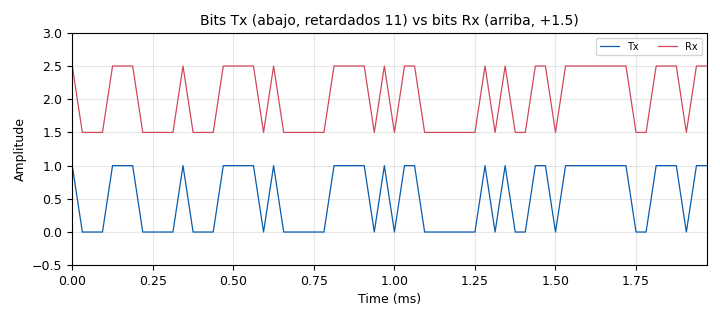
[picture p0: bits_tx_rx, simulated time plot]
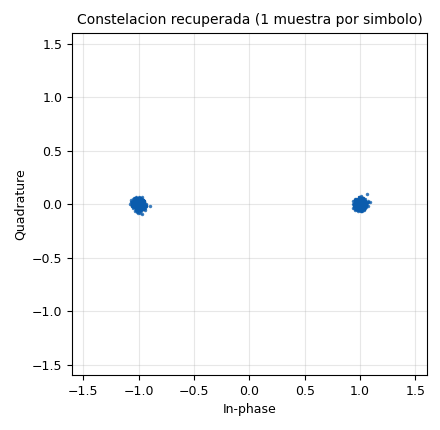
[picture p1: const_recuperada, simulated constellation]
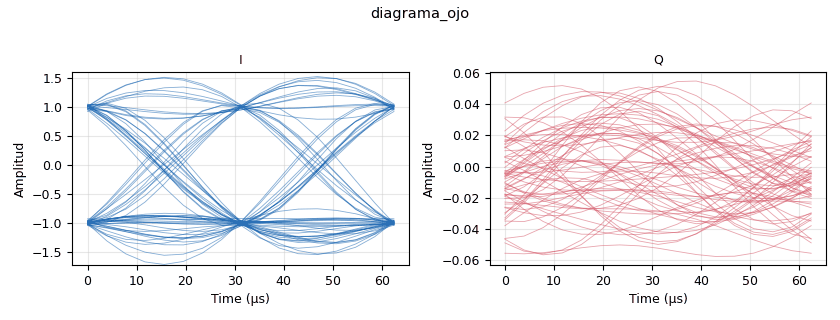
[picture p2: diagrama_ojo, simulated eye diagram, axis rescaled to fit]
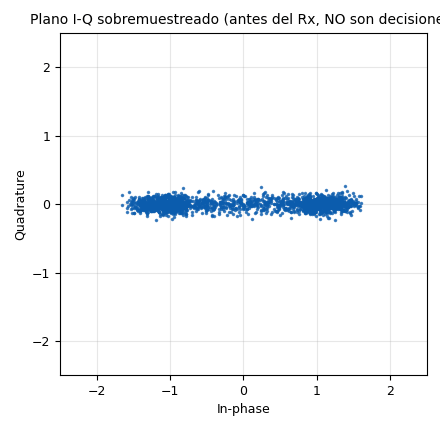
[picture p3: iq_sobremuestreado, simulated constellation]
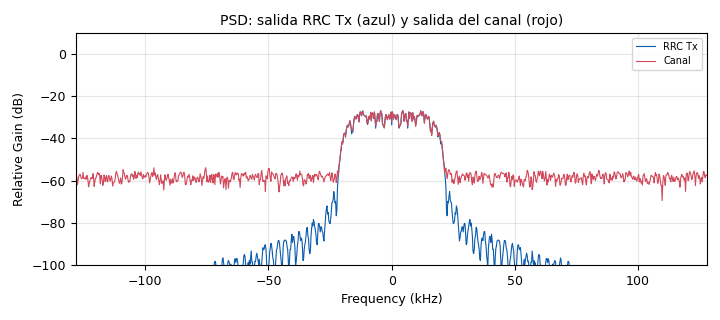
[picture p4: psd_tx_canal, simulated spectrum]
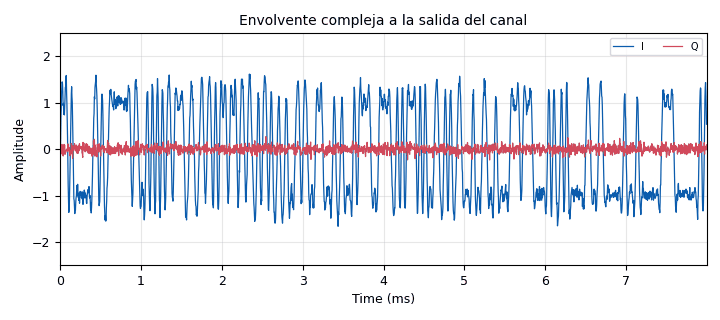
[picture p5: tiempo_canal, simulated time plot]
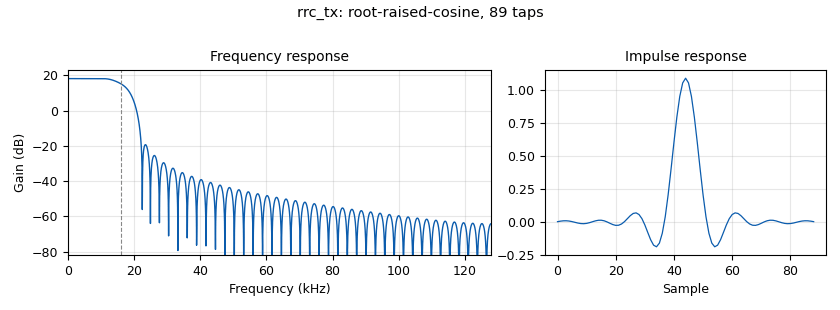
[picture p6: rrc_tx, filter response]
options:
  parameters:
    author: Grupo 1
    description: 'S1 Telemetria industrial: BPSK con RRC, canal AWGN + ruido impulsivo y receptor con filtro acoplado'
    generate_options: qt_gui
    id: Fase2_Enlace_BPSK_TxRx_Grupo1
    output_language: python
    title: Fase 2 - Enlace BPSK Tx-Canal-Rx (Grupo 1, S1)
  states: {}

blocks:
- name: A_imp
  id: variable_qtgui_range
  parameters:
    label: Amplitud del impulso A_imp (A=0, B=0.3, C=0.6, D=1.0)
    start: '0'
    step: '0.1'
    stop: '10'
    value: '0'
  states: {}
- name: M
  id: variable
  parameters:
    value: len(tabla_de_verdad_constelacion)
  states: {}
- name: Rb
  id: variable
  parameters:
    value: Rs*bps
  states: {}
- name: Rs
  id: variable
  parameters:
    value: '32000'
  states: {}
- name: Sps
  id: variable
  parameters:
    value: '8'
  states: {}
- name: beta
  id: variable
  parameters:
    value: '0.35'
  states: {}
- name: bps
  id: variable
  parameters:
    value: int(math.log(M,2))
  states: {}
- name: const_bpsk
  id: variable_constellation
  parameters:
    const_points: tabla_de_verdad_constelacion
    dims: '1'
    normalization: digital.constellation.AMPLITUDE_NORMALIZATION
    precision: '8'
    rot_sym: '2'
    sym_map: '[0, 1]'
    type: calcdist
  states: {}
- name: noise_amp
  id: variable_qtgui_range
  parameters:
    label: Amplitud AWGN del canal
    start: '0'
    step: '0.01'
    stop: '0.5'
    value: '0.10'
  states: {}
- name: offset_muestreo
  id: variable_qtgui_range
  parameters:
    label: Instante de muestreo (offset 0-7 dentro del simbolo)
    rangeType: int
    start: '0'
    step: '1'
    stop: '7'
    value: '0'
  states: {}
- name: periodo_imp
  id: variable
  parameters:
    value: '256'
  states: {}
- name: retardo_bits
  id: variable
  parameters:
    value: '11'
  states: {}
- name: rrc_rx_taps
  id: variable
  parameters:
    value: '[t/sum(x*x for x in rrc_tx_taps) for t in rrc_tx_taps]'
  states: {}
- name: rrc_tx_taps
  id: variable_rrc_filter_taps
  parameters:
    alpha: beta
    gain: Sps
    ntaps: span*Sps
    samp_rate: samp_rate
    sym_rate: Rs
  states: {}
- name: samp_rate
  id: variable
  parameters:
    value: Rs*Sps
  states: {}
- name: span
  id: variable
  parameters:
    value: '11'
  states: {}
- name: tabla_de_verdad_constelacion
  id: variable
  parameters:
    value: (-1+0j, 1+0j)
  states: {}
- name: ber_ventana
  id: blocks_moving_average_xx
  parameters:
    length: '100000'
    max_iter: '4000'
    scale: 1.0/100000
    type: float
  states: {}
- name: bits_rx_float
  id: blocks_char_to_float
  parameters:
    scale: '1'
  states: {}
- name: bits_tx_float
  id: blocks_char_to_float
  parameters:
    scale: '1'
  states: {}
- name: bits_tx_rx
  id: qtgui_time_sink_x
  parameters:
    grid: 'True'
    gui_hint: 'tabs@2: 1,0,1,1'
    label1: Tx
    label2: Rx
    name: '"Bits Tx (abajo, retardados 11) vs bits Rx (arriba, +1.5)"'
    nconnections: '2'
    size: '64'
    srate: Rb
    type: float
    ymax: '3'
    ymin: '-0.5'
  states: {}
- name: comparador_xor
  id: blocks_xor_xx
  parameters:
    type: byte
  states: {}
- name: const_recuperada
  id: qtgui_const_sink_x
  parameters:
    grid: 'True'
    gui_hint: 'tabs@1: 0,1,1,1'
    label1: '""'
    legend: 'False'
    name: '"Constelacion recuperada (1 muestra por simbolo)"'
    size: '1024'
    type: complex
    xmax: '1.6'
    xmin: '-1.6'
    ymax: '1.6'
    ymin: '-1.6'
  states: {}
- name: decision
  id: digital_constellation_decoder_cb
  parameters:
    constellation: const_bpsk
  states: {}
- name: desplaza_rx
  id: blocks_add_const_vxx
  parameters:
    const: '1.5'
    type: float
  states: {}
- name: diagrama_ojo
  id: qtgui_eye_sink_x
  parameters:
    grid: 'True'
    gui_hint: 'tabs@1: 0,0,1,1'
    label1: I
    label2: Q
    samp_per_symbol: Sps
    size: '1024'
    srate: samp_rate
    type: complex
    ylabel: Amplitud
    ymax: '1.6'
    ymin: '-1.6'
  states: {}
- name: errores_float
  id: blocks_char_to_float
  parameters:
    scale: '1'
  states: {}
- name: fuente_bits
  id: digital_glfsr_source_x
  parameters:
    degree: '15'
    mask: '0'
    repeat: 'True'
    seed: '1'
    type: byte
  states: {}
- name: import_0
  id: import
  parameters:
    imports: import math
  states: {}
- name: impulsos
  id: blocks_vector_source_x
  parameters:
    repeat: 'True'
    type: complex
    vector: '[0j]*(periodo_imp-1) + [complex(A_imp, 0)]'
  states: {}
- name: iq_sobremuestreado
  id: qtgui_const_sink_x
  parameters:
    grid: 'True'
    gui_hint: 'tabs@0: 1,1,1,1'
    label1: '""'
    legend: 'False'
    name: '"Plano I-Q sobremuestreado (antes del Rx, NO son decisiones)"'
    size: '2048'
    type: complex
    xmax: '2.5'
    xmin: '-2.5'
    ymax: '2.5'
    ymin: '-2.5'
  states: {}
- name: mapeo_bpsk
  id: digital_chunks_to_symbols_xx
  parameters:
    dimension: '1'
    in_type: byte
    out_type: complex
    symbol_table: tabla_de_verdad_constelacion
  states: {}
- name: medidor_ber
  id: qtgui_number_sink
  parameters:
    graph_type: qtgui.NUM_GRAPH_HORIZ
    gui_hint: 'tabs@2: 0,0,1,1'
    label1: '""'
    max: '0.5'
    min: '0'
    name: '"BER (ventana de 100 000 bits)"'
    type: float
    update_time: '0.2'
  states: {}
- name: muestreo_simbolo
  id: blocks_keep_m_in_n
  parameters:
    m: '1'
    n: Sps
    offset: offset_muestreo
    type: complex
  states: {}
- name: psd_tx_canal
  id: qtgui_freq_sink_x
  parameters:
    average: '0.2'
    bw: samp_rate
    fc: '0'
    fftsize: '1024'
    grid: 'True'
    gui_hint: 'tabs@0: 0,0,1,2'
    label1: RRC Tx
    label2: Canal
    name: '"PSD: salida RRC Tx (azul) y salida del canal (rojo)"'
    nconnections: '2'
    type: complex
    ymin: '-100'
  states: {}
- name: retardo_ref
  id: blocks_delay
  parameters:
    delay: retardo_bits
    type: byte
  states: {}
- name: rrc_rx_acoplado
  id: fir_filter_xxx
  parameters:
    decim: '1'
    taps: rrc_rx_taps
    type: ccf
  states: {}
- name: rrc_tx
  id: interp_fir_filter_xxx
  parameters:
    interp: Sps
    taps: rrc_tx_taps
    type: ccf
  states: {}
- name: ruido_awgn
  id: analog_noise_source_x
  parameters:
    amp: noise_amp
    noise_type: analog.GR_GAUSSIAN
    seed: '0'
    type: complex
  states: {}
- name: suma_awgn
  id: blocks_add_xx
  parameters:
    type: complex
  states: {}
- name: suma_impulsos
  id: blocks_add_xx
  parameters:
    type: complex
  states: {}
- name: tabs
  id: qtgui_tab_widget
  parameters:
    label0: Transmisor y canal
    label1: Receptor
    label2: Validacion bits Tx vs Rx
    num_tabs: '3'
  states: {}
- name: throttle_0
  id: blocks_throttle2
  parameters:
    samples_per_second: samp_rate
    type: complex
  states: {}
- name: tiempo_canal
  id: qtgui_time_sink_x
  parameters:
    grid: 'True'
    gui_hint: 'tabs@0: 1,0,1,1'
    label1: I
    label2: Q
    name: '"Envolvente compleja a la salida del canal"'
    size: '2048'
    srate: samp_rate
    type: complex
    ymax: '2.5'
    ymin: '-2.5'
  states: {}
- name: tiempo_mf
  id: qtgui_time_sink_x
  parameters:
    grid: 'True'
    gui_hint: 'tabs@1: 1,0,1,2'
    label1: I
    label2: Q
    name: '"Salida del filtro acoplado (I) y muestras decididas"'
    size: '512'
    srate: samp_rate
    type: complex
    ymax: '1.6'
    ymin: '-1.6'
  states: {}

connections:
- [ber_ventana, '0', medidor_ber, '0']
- [bits_rx_float, '0', desplaza_rx, '0']
- [bits_tx_float, '0', bits_tx_rx, '0']
- [comparador_xor, '0', errores_float, '0']
- [decision, '0', bits_rx_float, '0']
- [decision, '0', comparador_xor, '1']
- [desplaza_rx, '0', bits_tx_rx, '1']
- [errores_float, '0', ber_ventana, '0']
- [fuente_bits, '0', mapeo_bpsk, '0']
- [fuente_bits, '0', retardo_ref, '0']
- [impulsos, '0', suma_impulsos, '1']
- [mapeo_bpsk, '0', rrc_tx, '0']
- [muestreo_simbolo, '0', const_recuperada, '0']
- [muestreo_simbolo, '0', decision, '0']
- [retardo_ref, '0', bits_tx_float, '0']
- [retardo_ref, '0', comparador_xor, '0']
- [rrc_rx_acoplado, '0', diagrama_ojo, '0']
- [rrc_rx_acoplado, '0', muestreo_simbolo, '0']
- [rrc_rx_acoplado, '0', tiempo_mf, '0']
- [rrc_tx, '0', psd_tx_canal, '0']
- [rrc_tx, '0', throttle_0, '0']
- [ruido_awgn, '0', suma_awgn, '1']
- [suma_awgn, '0', suma_impulsos, '0']
- [suma_impulsos, '0', iq_sobremuestreado, '0']
- [suma_impulsos, '0', psd_tx_canal, '1']
- [suma_impulsos, '0', rrc_rx_acoplado, '0']
- [suma_impulsos, '0', tiempo_canal, '0']
- [throttle_0, '0', suma_awgn, '0']

metadata:
  file_format: 1
  grc_version: 3.10.12.0
